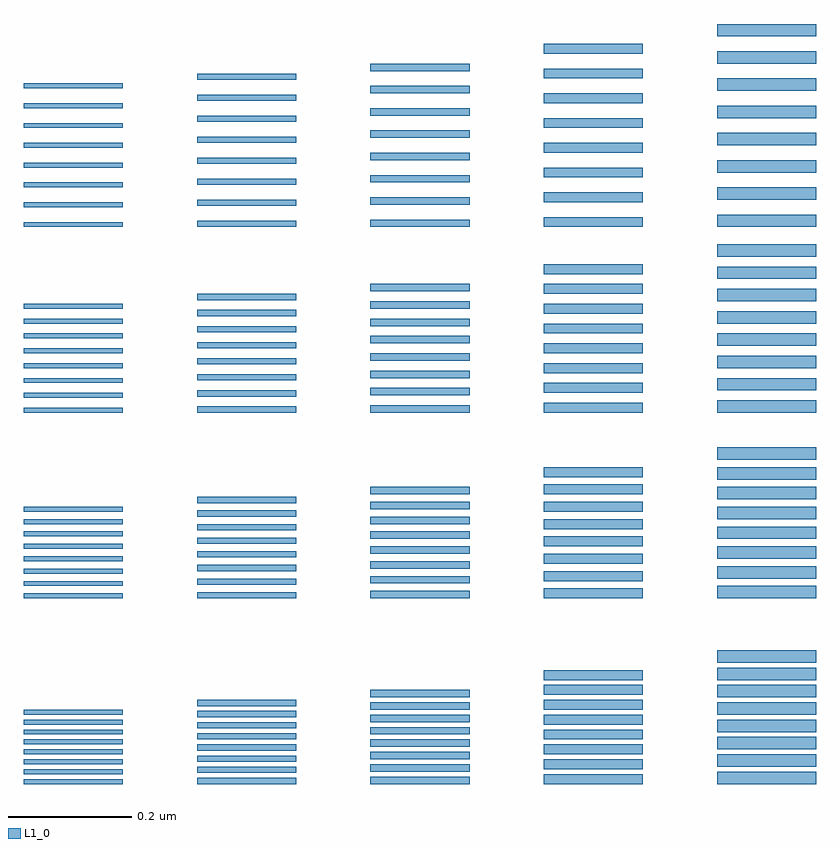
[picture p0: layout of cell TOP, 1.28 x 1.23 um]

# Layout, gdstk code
import gdstk
lib = gdstk.Library(unit=1e-6, precision=1e-10)
def R(c, l, rs):  # rectangles x0, y0, x1, y1
    for r in rs: c.add(gdstk.rectangle(r[:2], r[2:], *l))
def A(c, l, x, y, w, h, nx, ny, dx, dy):  # array of equal rectangles
    R(c, l, [(x+i*dx, y+j*dy, x+i*dx+w, y+j*dy+h) for i in range(nx) for j in range(ny)])
L1_0 = (1, 0)

p00000 = lib.new_cell('P00000')
A(p00000, L1_0, 0, 0, 0.16, 0.008, 1, 8, 0, 0.016)

p00001 = lib.new_cell('P00001')
A(p00001, L1_0, 0.28, 0, 0.16, 0.01, 1, 8, 0, 0.018)

p00002 = lib.new_cell('P00002')
A(p00002, L1_0, 0.56, 0, 0.16, 0.012, 1, 8, 0, 0.02)

p00003 = lib.new_cell('P00003')
A(p00003, L1_0, 0.84, 0, 0.16, 0.016, 1, 8, 0, 0.024)

p00004 = lib.new_cell('P00004')
A(p00004, L1_0, 1.12, 0, 0.16, 0.02, 1, 8, 0, 0.028)

p00005 = lib.new_cell('P00005')
A(p00005, L1_0, 0, 0.3, 0.16, 0.008, 1, 8, 0, 0.02)

p00006 = lib.new_cell('P00006')
A(p00006, L1_0, 0.28, 0.3, 0.16, 0.01, 1, 8, 0, 0.022)

p00007 = lib.new_cell('P00007')
A(p00007, L1_0, 0.56, 0.3, 0.16, 0.012, 1, 8, 0, 0.024)

p00008 = lib.new_cell('P00008')
A(p00008, L1_0, 0.84, 0.3, 0.16, 0.016, 1, 8, 0, 0.028)

p00009 = lib.new_cell('P00009')
A(p00009, L1_0, 1.12, 0.3, 0.16, 0.02, 1, 8, 0, 0.032)

p00010 = lib.new_cell('P00010')
A(p00010, L1_0, 0, 0.6, 0.16, 0.008, 1, 8, 0, 0.024)

p00011 = lib.new_cell('P00011')
A(p00011, L1_0, 0.28, 0.6, 0.16, 0.01, 1, 8, 0, 0.026)

p00012 = lib.new_cell('P00012')
A(p00012, L1_0, 0.56, 0.6, 0.16, 0.012, 1, 8, 0, 0.028)

p00013 = lib.new_cell('P00013')
A(p00013, L1_0, 0.84, 0.6, 0.16, 0.016, 1, 8, 0, 0.032)

p00014 = lib.new_cell('P00014')
A(p00014, L1_0, 1.12, 0.6, 0.16, 0.02, 1, 8, 0, 0.036)

p00015 = lib.new_cell('P00015')
A(p00015, L1_0, 0, 0.9, 0.16, 0.008, 1, 8, 0, 0.032)

p00016 = lib.new_cell('P00016')
A(p00016, L1_0, 0.28, 0.9, 0.16, 0.01, 1, 8, 0, 0.034)

p00017 = lib.new_cell('P00017')
A(p00017, L1_0, 0.56, 0.9, 0.16, 0.012, 1, 8, 0, 0.036)

p00018 = lib.new_cell('P00018')
A(p00018, L1_0, 0.84, 0.9, 0.16, 0.016, 1, 8, 0, 0.04)

p00019 = lib.new_cell('P00019')
A(p00019, L1_0, 1.12, 0.9, 0.16, 0.02, 1, 8, 0, 0.044)

top = lib.new_cell('TOP')
top.add(gdstk.Reference(p00000, (0,0)))
top.add(gdstk.Reference(p00001, (0,0)))
top.add(gdstk.Reference(p00002, (0,0)))
top.add(gdstk.Reference(p00003, (0,0)))
top.add(gdstk.Reference(p00004, (0,0)))
top.add(gdstk.Reference(p00005, (0,0)))
top.add(gdstk.Reference(p00006, (0,0)))
top.add(gdstk.Reference(p00007, (0,0)))
top.add(gdstk.Reference(p00008, (0,0)))
top.add(gdstk.Reference(p00009, (0,0)))
top.add(gdstk.Reference(p00010, (0,0)))
top.add(gdstk.Reference(p00011, (0,0)))
top.add(gdstk.Reference(p00012, (0,0)))
top.add(gdstk.Reference(p00013, (0,0)))
top.add(gdstk.Reference(p00014, (0,0)))
top.add(gdstk.Reference(p00015, (0,0)))
top.add(gdstk.Reference(p00016, (0,0)))
top.add(gdstk.Reference(p00017, (0,0)))
top.add(gdstk.Reference(p00018, (0,0)))
top.add(gdstk.Reference(p00019, (0,0)))

lib.write_gds('TOP.gds')
